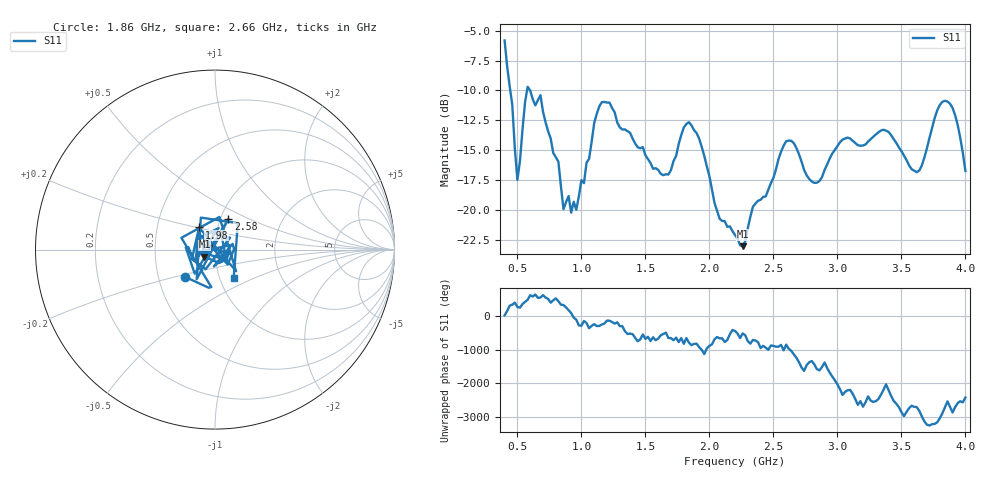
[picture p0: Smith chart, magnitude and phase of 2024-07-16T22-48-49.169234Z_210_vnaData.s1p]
!Created with skrf (http://scikit-rf.org).
# Hz S RI R 50.0
!freq ReS11 ImS11
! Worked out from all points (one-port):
!   181 points, 400 MHz to 4 GHz, reference 50 ohm
!   lowest |S11| = -23.0 dB at 2.26 GHz (marker M1), VSWR 1.15, Z = 44.3 - j3.5 ohm
!   |S11| at or under -10 dB: 444.1 MHz to 575.3 MHz (131.1 MHz wide, 25.7 % of centre); 599.2 MHz to end of sweep
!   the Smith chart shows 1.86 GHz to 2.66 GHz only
!   S11 on the Smith chart (normalised r, x): 1.86 GHz: 0.69, -0.22; 1.98 GHz: 0.81, +0.21; 2.58 GHz: 1.09, +0.38; 2.66 GHz: 1.16, -0.38
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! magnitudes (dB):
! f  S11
! 400 MHz  -5.8
! 460 MHz  -11.2
! 500 MHz  -17.5
! 580 MHz  -9.7
! 680 MHz  -10.4
! 820 MHz  -16.0
! 860 MHz  -19.9
! 960 MHz  -20.0
! 1.16 GHz  -11.0
! 1.3 GHz  -13.1
! 1.64 GHz  -17.1
! 1.76 GHz  -14.5
! 1.86 GHz  -12.9
! 1.98 GHz  -16.4
! 2.08 GHz  -20.7
! 2.2 GHz  -22.1
! 2.26 GHz  -23.0
! 2.34 GHz  -19.7
! 2.58 GHz  -14.6
! 2.66 GHz  -14.4
! 2.84 GHz  -17.7
! 3.1 GHz  -14.0
! 3.38 GHz  -13.4
! 3.56 GHz  -16.3
! 3.64 GHz  -16.7
! 3.84 GHz  -10.9
! 3.92 GHz  -12.1
! 4 GHz  -16.7
